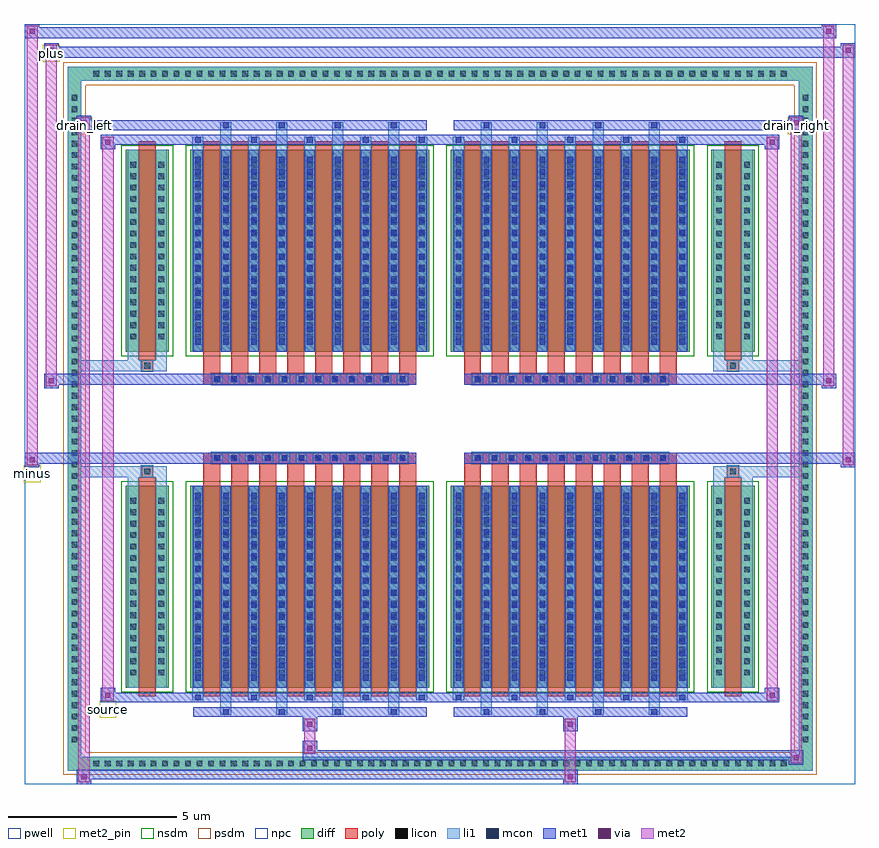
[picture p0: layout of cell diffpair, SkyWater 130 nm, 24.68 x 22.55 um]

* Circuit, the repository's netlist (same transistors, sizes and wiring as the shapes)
* NGSPICE file created from diffpair.ext - technology: sky130A

.subckt diffpair minus drain_right drain_left source plus
X0 drain_right minus source a_n2210_n2088# sky130_fd_pr__nfet_01v8 ad=0.99 pd=6.33 as=0.99 ps=6.33 w=6 l=0.5
X1 source plus drain_left a_n2210_n2088# sky130_fd_pr__nfet_01v8 ad=0.99 pd=6.33 as=0.99 ps=6.33 w=6 l=0.5
X2 drain_right minus source a_n2210_n2088# sky130_fd_pr__nfet_01v8 ad=0.99 pd=6.33 as=0.99 ps=6.33 w=6 l=0.5
X3 source minus drain_right a_n2210_n2088# sky130_fd_pr__nfet_01v8 ad=0.99 pd=6.33 as=0.99 ps=6.33 w=6 l=0.5
X4 source minus drain_right a_n2210_n2088# sky130_fd_pr__nfet_01v8 ad=0.99 pd=6.33 as=0.99 ps=6.33 w=6 l=0.5
X5 source plus drain_left a_n2210_n2088# sky130_fd_pr__nfet_01v8 ad=2.34 pd=12.78 as=0.99 ps=6.33 w=6 l=0.5
X6 a_n2210_n2088# a_n2210_n2088# a_n2210_n2088# a_n2210_n2088# sky130_fd_pr__nfet_01v8 ad=2.34 pd=12.78 as=18.72 ps=102.24 w=6 l=0.5
X7 source minus drain_right a_n2210_n2088# sky130_fd_pr__nfet_01v8 ad=0.99 pd=6.33 as=0.99 ps=6.33 w=6 l=0.5
X8 drain_right minus source a_n2210_n2088# sky130_fd_pr__nfet_01v8 ad=0.99 pd=6.33 as=0.99 ps=6.33 w=6 l=0.5
X9 drain_right minus source a_n2210_n2088# sky130_fd_pr__nfet_01v8 ad=0.99 pd=6.33 as=0.99 ps=6.33 w=6 l=0.5
X10 a_n2210_n2088# a_n2210_n2088# a_n2210_n2088# a_n2210_n2088# sky130_fd_pr__nfet_01v8 ad=2.34 pd=12.78 as=0 ps=0 w=6 l=0.5
X11 drain_right minus source a_n2210_n2088# sky130_fd_pr__nfet_01v8 ad=0.99 pd=6.33 as=0.99 ps=6.33 w=6 l=0.5
X12 drain_left plus source a_n2210_n2088# sky130_fd_pr__nfet_01v8 ad=0.99 pd=6.33 as=0.99 ps=6.33 w=6 l=0.5
X13 source plus drain_left a_n2210_n2088# sky130_fd_pr__nfet_01v8 ad=0.99 pd=6.33 as=0.99 ps=6.33 w=6 l=0.5
X14 source minus drain_right a_n2210_n2088# sky130_fd_pr__nfet_01v8 ad=0.99 pd=6.33 as=0.99 ps=6.33 w=6 l=0.5
X15 source minus drain_right a_n2210_n2088# sky130_fd_pr__nfet_01v8 ad=2.34 pd=12.78 as=0.99 ps=6.33 w=6 l=0.5
X16 drain_left plus source a_n2210_n2088# sky130_fd_pr__nfet_01v8 ad=0.99 pd=6.33 as=2.34 ps=12.78 w=6 l=0.5
X17 source plus drain_left a_n2210_n2088# sky130_fd_pr__nfet_01v8 ad=0.99 pd=6.33 as=0.99 ps=6.33 w=6 l=0.5
X18 a_n2210_n2088# a_n2210_n2088# a_n2210_n2088# a_n2210_n2088# sky130_fd_pr__nfet_01v8 ad=2.34 pd=12.78 as=0 ps=0 w=6 l=0.5
X19 source plus drain_left a_n2210_n2088# sky130_fd_pr__nfet_01v8 ad=2.34 pd=12.78 as=0.99 ps=6.33 w=6 l=0.5
X20 drain_right minus source a_n2210_n2088# sky130_fd_pr__nfet_01v8 ad=0.99 pd=6.33 as=2.34 ps=12.78 w=6 l=0.5
X21 source plus drain_left a_n2210_n2088# sky130_fd_pr__nfet_01v8 ad=0.99 pd=6.33 as=0.99 ps=6.33 w=6 l=0.5
X22 drain_left plus source a_n2210_n2088# sky130_fd_pr__nfet_01v8 ad=0.99 pd=6.33 as=0.99 ps=6.33 w=6 l=0.5
X23 a_n2210_n2088# a_n2210_n2088# a_n2210_n2088# a_n2210_n2088# sky130_fd_pr__nfet_01v8 ad=2.34 pd=12.78 as=0 ps=0 w=6 l=0.5
X24 drain_left plus source a_n2210_n2088# sky130_fd_pr__nfet_01v8 ad=0.99 pd=6.33 as=0.99 ps=6.33 w=6 l=0.5
X25 drain_right minus source a_n2210_n2088# sky130_fd_pr__nfet_01v8 ad=0.99 pd=6.33 as=0.99 ps=6.33 w=6 l=0.5
X26 source minus drain_right a_n2210_n2088# sky130_fd_pr__nfet_01v8 ad=2.34 pd=12.78 as=0.99 ps=6.33 w=6 l=0.5
X27 source minus drain_right a_n2210_n2088# sky130_fd_pr__nfet_01v8 ad=0.99 pd=6.33 as=0.99 ps=6.33 w=6 l=0.5
X28 source plus drain_left a_n2210_n2088# sky130_fd_pr__nfet_01v8 ad=0.99 pd=6.33 as=0.99 ps=6.33 w=6 l=0.5
X29 source minus drain_right a_n2210_n2088# sky130_fd_pr__nfet_01v8 ad=0.99 pd=6.33 as=0.99 ps=6.33 w=6 l=0.5
X30 drain_left plus source a_n2210_n2088# sky130_fd_pr__nfet_01v8 ad=0.99 pd=6.33 as=0.99 ps=6.33 w=6 l=0.5
X31 drain_left plus source a_n2210_n2088# sky130_fd_pr__nfet_01v8 ad=0.99 pd=6.33 as=2.34 ps=12.78 w=6 l=0.5
X32 source plus drain_left a_n2210_n2088# sky130_fd_pr__nfet_01v8 ad=0.99 pd=6.33 as=0.99 ps=6.33 w=6 l=0.5
X33 drain_left plus source a_n2210_n2088# sky130_fd_pr__nfet_01v8 ad=0.99 pd=6.33 as=0.99 ps=6.33 w=6 l=0.5
X34 drain_left plus source a_n2210_n2088# sky130_fd_pr__nfet_01v8 ad=0.99 pd=6.33 as=0.99 ps=6.33 w=6 l=0.5
X35 drain_right minus source a_n2210_n2088# sky130_fd_pr__nfet_01v8 ad=0.99 pd=6.33 as=2.34 ps=12.78 w=6 l=0.5
.ends

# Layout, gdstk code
import gdstk
lib = gdstk.Library(unit=1e-6, precision=5e-09)
def R(c, l, rs):  # rectangles x0, y0, x1, y1
    for r in rs: c.add(gdstk.rectangle(r[:2], r[2:], *l))
def A(c, l, x, y, w, h, nx, ny, dx, dy):  # array of equal rectangles
    R(c, l, [(x+i*dx, y+j*dy, x+i*dx+w, y+j*dy+h) for i in range(nx) for j in range(ny)])
def P(c, l, *ps):  # polygons
    for p in ps: c.add(gdstk.Polygon(p, *l))
pwell = (64, 44)
diff = (65, 20)
poly = (66, 20)
licon = (66, 44)
li1 = (67, 20)
mcon = (67, 44)
met1 = (68, 20)
via = (68, 44)
met2_pin = (69, 16)
met2 = (69, 20)
nsdm = (93, 44)
psdm = (94, 20)
npc = (95, 20)

diffpair = lib.new_cell('diffpair')
R(diffpair, pwell, [(-12.32,-10.84,12.32,11.71), (-9.64,-9.03,-0.01,-0.805), (0.01,-9.03,9.64,-0.805), (-9.64,0.805,-0.01,9.03), (0.01,0.805,9.64,9.03)])
A(diffpair, diff, -10.405, -10.44, 0.41, 0.41, 61, 2, 0.34, 20.47)
A(diffpair, diff, -11.05, -9.725, 0.41, 0.41, 1, 57, 0, 0.34)
A(diffpair, diff, 10.64, -9.725, 0.41, 0.41, 1, 57, 0, 0.34)
R(diffpair, diff, [(-10.405,-10.44,10.405,-10.03), (-11.05,-9.725,-10.64,9.725), (10.64,-9.725,11.05,9.725), (-9.33,-7.985,-8.05,-1.985), (-7.41,-7.985,-0.32,-1.985), (0.32,-7.985,7.41,-1.985), (8.05,-7.985,9.33,-1.985), (-9.33,1.985,-8.05,7.985), (-7.41,1.985,-0.32,7.985), (0.32,1.985,7.41,7.985), (8.05,1.985,9.33,7.985), (-10.405,10.03,10.405,10.44)])
P(diffpair, diff, [(11.05,10.44),(-11.05,10.44),(-11.05,-10.03),(-10.64,-10.03),(-10.64,10.03),(10.64,10.03),(10.64,-10.03),(-10.64,-10.03),(-11.05,-10.03),(-11.05,-10.44),(11.05,-10.44)])
A(diffpair, poly, -7.02, -8.235, 0.5, 6.5, 8, 2, 0.83, 9.97)
A(diffpair, poly, 0.71, -8.235, 0.5, 6.5, 8, 2, 0.83, 9.97)
A(diffpair, poly, -7.02, -1.735, 0.5, 0.4, 8, 2, 0.83, 3.07)
A(diffpair, poly, 0.71, -1.735, 0.5, 0.4, 8, 2, 0.83, 3.07)
A(diffpair, poly, -6.78, -1.335, 0.33, 0.33, 12, 2, 0.5, 2.34)
A(diffpair, poly, 0.95, -1.335, 0.33, 0.33, 12, 2, 0.5, 2.34)
R(diffpair, poly, [(-8.94,-8.235,-8.44,-1.735), (8.44,-8.235,8.94,-1.735), (-8.855,-1.735,-8.525,-1.405), (-8.855,-1.735,-8.525,-1.405), (8.525,-1.735,8.855,-1.405), (8.525,-1.735,8.855,-1.405), (-7.02,-1.335,-0.71,-1.005), (0.71,-1.335,7.02,-1.005), (-7.02,1.005,-0.71,1.335), (0.71,1.005,7.02,1.335), (-8.855,1.405,-8.525,1.735), (-8.855,1.405,-8.525,1.735), (8.525,1.405,8.855,1.735), (8.525,1.405,8.855,1.735), (-8.94,1.735,-8.44,8.235), (8.44,1.735,8.94,8.235)])
A(diffpair, licon, -10.285, -10.32, 0.17, 0.17, 61, 2, 0.34, 20.47)
A(diffpair, licon, -10.93, -9.605, 0.17, 0.17, 1, 57, 0, 0.34)
A(diffpair, licon, 10.76, -9.605, 0.17, 0.17, 1, 57, 0, 0.34)
A(diffpair, licon, -9.19, -7.62, 0.17, 0.17, 1, 16, 0, 0.34)
A(diffpair, licon, -8.36, -7.62, 0.17, 0.17, 1, 16, 0, 0.34)
A(diffpair, licon, -7.27, -7.62, 0.17, 0.17, 9, 16, 0.83, 0.34)
A(diffpair, licon, 0.46, -7.62, 0.17, 0.17, 9, 16, 0.83, 0.34)
A(diffpair, licon, 8.19, -7.62, 0.17, 0.17, 1, 16, 0, 0.34)
A(diffpair, licon, 9.02, -7.62, 0.17, 0.17, 1, 16, 0, 0.34)
A(diffpair, licon, -6.7, -1.255, 0.17, 0.17, 12, 2, 0.5, 2.34)
A(diffpair, licon, 1.03, -1.255, 0.17, 0.17, 12, 2, 0.5, 2.34)
A(diffpair, licon, -9.19, 2.35, 0.17, 0.17, 1, 16, 0, 0.34)
A(diffpair, licon, -8.36, 2.35, 0.17, 0.17, 1, 16, 0, 0.34)
A(diffpair, licon, -7.27, 2.35, 0.17, 0.17, 9, 16, 0.83, 0.34)
A(diffpair, licon, 0.46, 2.35, 0.17, 0.17, 9, 16, 0.83, 0.34)
A(diffpair, licon, 8.19, 2.35, 0.17, 0.17, 1, 16, 0, 0.34)
A(diffpair, licon, 9.02, 2.35, 0.17, 0.17, 1, 16, 0, 0.34)
R(diffpair, licon, [(-8.775,-1.655,-8.605,-1.485), (8.605,-1.655,8.775,-1.485), (-8.775,1.485,-8.605,1.655), (8.605,1.485,8.775,1.655)])
A(diffpair, li1, -10.365, -10.4, 0.33, 0.33, 61, 2, 0.34, 20.47)
A(diffpair, li1, -11.01, -9.685, 0.33, 0.33, 1, 57, 0, 0.34)
A(diffpair, li1, 10.68, -9.685, 0.33, 0.33, 1, 57, 0, 0.34)
A(diffpair, li1, -6.52, -8.79, 0.33, 0.805, 4, 2, 1.66, 16.775)
A(diffpair, li1, -6.44, -8.79, 0.17, 0.17, 4, 2, 1.66, 17.41)
A(diffpair, li1, 1.21, -8.79, 0.33, 0.805, 4, 2, 1.66, 16.775)
A(diffpair, li1, 1.29, -8.79, 0.17, 0.17, 4, 2, 1.66, 17.41)
A(diffpair, li1, -7.35, -8.36, 0.33, 0.375, 5, 2, 1.66, 16.345)
A(diffpair, li1, -7.27, -8.36, 0.17, 0.17, 5, 2, 1.66, 16.55)
A(diffpair, li1, 0.38, -8.36, 0.33, 0.375, 5, 2, 1.66, 16.345)
A(diffpair, li1, 0.46, -8.36, 0.17, 0.17, 5, 2, 1.66, 16.55)
A(diffpair, li1, -7.35, -7.985, 0.33, 6, 9, 2, 0.83, 9.97)
A(diffpair, li1, 0.38, -7.985, 0.33, 6, 9, 2, 0.83, 9.97)
A(diffpair, li1, -7.27, -7.77, 0.17, 0.17, 9, 16, 0.83, 0.36)
A(diffpair, li1, -7.27, -7.77, 0.17, 5.57, 9, 2, 0.83, 9.97)
A(diffpair, li1, 0.46, -7.77, 0.17, 0.17, 9, 16, 0.83, 0.36)
A(diffpair, li1, 0.46, -7.77, 0.17, 5.57, 9, 2, 0.83, 9.97)
A(diffpair, li1, -9.27, -7.7, 0.33, 0.33, 1, 16, 0, 0.34)
A(diffpair, li1, -8.44, -7.7, 0.33, 0.33, 1, 16, 0, 0.34)
A(diffpair, li1, -7.35, -7.7, 0.33, 0.33, 9, 16, 0.83, 0.34)
A(diffpair, li1, 0.38, -7.7, 0.33, 0.33, 9, 16, 0.83, 0.34)
A(diffpair, li1, 8.11, -7.7, 0.33, 0.33, 1, 16, 0, 0.34)
A(diffpair, li1, 8.94, -7.7, 0.33, 0.33, 1, 16, 0, 0.34)
A(diffpair, li1, -6.78, -1.335, 0.33, 0.33, 12, 2, 0.5, 2.34)
A(diffpair, li1, 0.95, -1.335, 0.33, 0.33, 12, 2, 0.5, 2.34)
A(diffpair, li1, -7.27, 2.2, 0.17, 0.17, 9, 16, 0.83, 0.36)
A(diffpair, li1, 0.46, 2.2, 0.17, 0.17, 9, 16, 0.83, 0.36)
A(diffpair, li1, -9.27, 2.27, 0.33, 0.33, 1, 16, 0, 0.34)
A(diffpair, li1, -8.44, 2.27, 0.33, 0.33, 1, 16, 0, 0.34)
A(diffpair, li1, -7.35, 2.27, 0.33, 0.33, 9, 16, 0.83, 0.34)
A(diffpair, li1, 0.38, 2.27, 0.33, 0.33, 9, 16, 0.83, 0.34)
A(diffpair, li1, 8.11, 2.27, 0.33, 0.33, 1, 16, 0, 0.34)
A(diffpair, li1, 8.94, 2.27, 0.33, 0.33, 1, 16, 0, 0.34)
R(diffpair, li1, [(-11.05,-10.44,-10.64,-10.03), (-11.05,-10.44,-10.64,-10.03), (-10.64,-10.44,10.64,-10.03), (10.64,-10.44,11.05,-10.03), (10.64,-10.44,11.05,-10.03), (-11.05,-10.03,-10.64,10.03), (10.64,-10.03,11.05,10.03), (-9.27,-7.985,-8.94,-1.985), (-8.44,-7.985,-8.11,-1.985), (8.11,-7.985,8.44,-1.985), (8.94,-7.985,9.27,-1.985), (-9.27,-1.985,-8.94,-1.405), (-8.44,-1.985,-8.11,-1.405), (8.11,-1.985,8.44,-1.405), (8.94,-1.985,9.27,-1.405), (-11.05,-1.735,-8.855,-1.405), (-9.27,-1.735,-8.855,-1.405), (-8.855,-1.735,-8.525,-1.405), (-8.525,-1.735,-8.11,-1.405), (8.11,-1.735,8.525,-1.405), (8.525,-1.735,8.855,-1.405), (8.525,-1.735,11.05,-1.405), (8.855,-1.735,9.27,-1.405), (-11.05,1.405,-8.855,1.735), (-9.27,1.405,-8.855,1.735), (-9.27,1.405,-8.94,1.985), (-8.855,1.405,-8.525,1.735), (-8.525,1.405,-8.11,1.735), (-8.44,1.405,-8.11,1.985), (8.11,1.405,8.525,1.735), (8.11,1.405,8.44,1.985), (8.525,1.405,8.855,1.735), (8.525,1.405,11.05,1.735), (8.855,1.405,9.27,1.735), (8.94,1.405,9.27,1.985), (-9.27,1.985,-8.94,7.985), (-8.44,1.985,-8.11,7.985), (8.11,1.985,8.44,7.985), (8.94,1.985,9.27,7.985), (-11.05,10.03,-10.64,10.44), (-11.05,10.03,-10.64,10.44), (-10.64,10.03,10.64,10.44), (10.64,10.03,11.05,10.44), (10.64,10.03,11.05,10.44)])
A(diffpair, mcon, -6.44, -8.79, 0.17, 0.17, 4, 2, 1.66, 17.41)
A(diffpair, mcon, 1.29, -8.79, 0.17, 0.17, 4, 2, 1.66, 17.41)
A(diffpair, mcon, -7.27, -8.36, 0.17, 0.17, 5, 2, 1.66, 16.55)
A(diffpair, mcon, 0.46, -8.36, 0.17, 0.17, 5, 2, 1.66, 16.55)
A(diffpair, mcon, -7.27, -7.77, 0.17, 0.17, 9, 16, 0.83, 0.36)
A(diffpair, mcon, 0.46, -7.77, 0.17, 0.17, 9, 16, 0.83, 0.36)
A(diffpair, mcon, -6.7, -1.255, 0.17, 0.17, 12, 2, 0.5, 2.34)
A(diffpair, mcon, 1.03, -1.255, 0.17, 0.17, 12, 2, 0.5, 2.34)
A(diffpair, mcon, -7.27, 2.2, 0.17, 0.17, 9, 16, 0.83, 0.36)
A(diffpair, mcon, 0.46, 2.2, 0.17, 0.17, 9, 16, 0.83, 0.36)
A(diffpair, met1, -6.5, -8.85, 0.29, 0.29, 4, 2, 1.66, 17.41)
A(diffpair, met1, 1.23, -8.85, 0.29, 0.29, 4, 2, 1.66, 17.41)
A(diffpair, met1, -7.33, -8.42, 0.29, 0.29, 5, 2, 1.66, 16.55)
A(diffpair, met1, 0.4, -8.42, 0.29, 0.29, 5, 2, 1.66, 16.55)
A(diffpair, met1, -7.33, -7.985, 0.29, 6, 9, 2, 0.83, 9.97)
A(diffpair, met1, 0.4, -7.985, 0.29, 6, 9, 2, 0.83, 9.97)
A(diffpair, met1, -7.33, -7.83, 0.29, 0.29, 9, 16, 0.83, 0.36)
A(diffpair, met1, 0.4, -7.83, 0.29, 0.29, 9, 16, 0.83, 0.36)
A(diffpair, met1, -6.76, -1.315, 0.29, 0.29, 12, 2, 0.5, 2.34)
A(diffpair, met1, 0.97, -1.315, 0.29, 0.29, 12, 2, 0.5, 2.34)
A(diffpair, met1, -7.33, 2.14, 0.29, 0.29, 9, 16, 0.83, 0.36)
A(diffpair, met1, 0.4, 2.14, 0.29, 0.29, 9, 16, 0.83, 0.36)
R(diffpair, met1, [(-10.78,-10.84,-10.35,-10.41), (3.65,-10.84,4.08,-10.41), (-10.78,-10.7,4.08,-10.41), (10.35,-10.27,10.78,-9.84), (-4.08,-10.13,10.78,-9.84), (-4.08,-9.99,-3.65,-9.56), (-4.08,-9.28,-3.65,-8.85), (3.65,-9.28,4.08,-8.85), (-7.33,-8.85,-0.4,-8.56), (0.4,-8.85,7.33,-8.56), (-10.07,-8.42,-9.64,-7.99), (-10.07,-8.42,-7.33,-8.13), (-7.33,-8.42,-0.4,-8.13), (-0.4,-8.42,0.4,-8.13), (0.4,-8.42,7.33,-8.13), (7.33,-8.42,10.07,-8.13), (9.64,-8.42,10.07,-7.99), (-12.32,-1.435,-11.89,-1.005), (11.89,-1.435,12.32,-1.005), (-12.32,-1.335,-0.71,-1.005), (-7.02,-1.335,-0.71,-1.005), (0.71,-1.335,7.02,-1.005), (0.71,-1.335,12.32,-1.005), (-11.75,0.905,-11.32,1.335), (11.32,0.905,11.75,1.335), (-11.75,1.005,-7.02,1.335), (-7.02,1.005,-0.71,1.335), (0.71,1.005,7.02,1.335), (7.02,1.005,11.75,1.335), (-10.07,7.99,-9.64,8.42), (9.64,7.99,10.07,8.42), (-10.07,8.13,-7.33,8.42), (-7.33,8.13,-0.4,8.42), (-0.4,8.13,0.4,8.42), (0.4,8.13,7.33,8.42), (7.33,8.13,10.07,8.42), (-10.78,8.56,-10.35,8.99), (-10.78,8.56,-7.33,8.85), (-7.33,8.56,-0.4,8.85), (0.4,8.56,7.33,8.85), (7.33,8.56,10.78,8.85), (10.35,8.56,10.78,8.99), (-11.75,10.71,-11.32,11.14), (-11.75,10.71,-9.64,11.04), (-9.64,10.71,9.64,11.04), (9.64,10.71,12.32,11.04), (11.89,10.71,12.32,11.14), (-12.32,11.28,-11.89,11.71), (-12.32,11.28,-9.64,11.61), (-9.64,11.28,9.64,11.61), (9.64,11.28,11.75,11.61), (11.32,11.28,11.75,11.71)])
R(diffpair, via, [(-10.64,-10.7,-10.49,-10.55), (3.79,-10.7,3.94,-10.55), (10.49,-10.13,10.64,-9.98), (-3.94,-9.85,-3.79,-9.7), (-3.94,-9.14,-3.79,-8.99), (3.79,-9.14,3.94,-8.99), (-9.93,-8.28,-9.78,-8.13), (9.78,-8.28,9.93,-8.13), (-12.18,-1.295,-12.03,-1.145), (12.03,-1.295,12.18,-1.145), (-11.61,1.045,-11.46,1.195), (11.46,1.045,11.61,1.195), (-9.93,8.13,-9.78,8.28), (9.78,8.13,9.93,8.28), (-10.64,8.7,-10.49,8.85), (10.49,8.7,10.64,8.85), (-11.61,10.85,-11.46,11), (12.03,10.85,12.18,11), (-12.18,11.42,-12.03,11.57), (11.46,11.42,11.61,11.57)])
R(diffpair, met2_pin, [(-10.105,-8.87,-9.605,-8.37), (-12.355,-1.885,-11.855,-1.385), (-10.815,8.44,-10.315,8.94), (10.315,8.44,10.815,8.94), (-11.785,10.59,-11.285,11.09)])
R(diffpair, met2, [(-10.73,-10.79,-10.4,-10.46), (-10.73,-10.79,-10.4,8.94), (3.7,-10.79,4.03,-10.46), (3.7,-10.46,4.03,-9.23), (10.4,-10.22,10.73,-9.89), (10.4,-10.22,10.73,8.94), (-4.03,-9.94,-3.7,-9.61), (-4.03,-9.61,-3.7,-9.23), (-4.03,-9.23,-3.7,-8.9), (3.7,-9.23,4.03,-8.9), (-10.02,-8.37,-9.69,-8.04), (-10.02,-8.37,-9.69,8.37), (9.69,-8.37,10.02,-8.04), (9.69,-8.37,10.02,8.37), (-12.27,-1.385,-11.94,-1.055), (-12.27,-1.385,-11.94,11.66), (11.94,-1.385,12.27,-1.055), (11.94,-1.385,12.27,11.09), (-11.7,0.955,-11.37,1.285), (-11.7,0.955,-11.37,11.09), (11.37,0.955,11.7,1.285), (11.37,0.955,11.7,11.66), (-10.02,8.04,-9.69,8.37), (9.69,8.04,10.02,8.37), (-10.73,8.61,-10.4,8.94), (10.4,8.61,10.73,8.94), (-11.7,10.76,-11.37,11.09), (11.94,10.76,12.27,11.09), (-12.27,11.33,-11.94,11.66), (11.37,11.33,11.7,11.66)])
P(diffpair, met2, [(12.27,-1.385),(12.27,-1.385),(12.27,-1.055),(12.27,-1.055)],
  [(12.27,10.76),(12.27,10.76),(12.27,11.09),(12.27,11.09)],
  [(-11.94,-1.385),(-11.94,-1.385),(-11.94,-1.055),(-11.94,-1.055)],
  [(-11.94,11.33),(-11.94,11.33),(-11.94,11.66),(-11.94,11.66)],
  [(11.7,0.955),(11.7,0.955),(11.7,1.285),(11.7,1.285)],
  [(11.7,11.33),(11.7,11.33),(11.7,11.66),(11.7,11.66)],
  [(-11.37,0.955),(-11.37,0.955),(-11.37,1.285),(-11.37,1.285)],
  [(-11.37,10.76),(-11.37,10.76),(-11.37,11.09),(-11.37,11.09)],
  [(-10.4,-10.79),(-10.4,-10.79),(-10.4,-10.46),(-10.4,-10.46)],
  [(-10.4,8.61),(-10.4,8.61),(-10.4,8.94),(-10.4,8.94)],
  [(10.73,-10.22),(10.73,-10.22),(10.73,-9.89),(10.73,-9.89)],
  [(10.73,8.61),(10.73,8.61),(10.73,8.94),(10.73,8.94)],
  [(-9.69,-8.37),(-9.69,-8.37),(-9.69,-8.04),(-9.69,-8.04)],
  [(-9.69,8.04),(-9.69,8.04),(-9.69,8.37),(-9.69,8.37)],
  [(10.02,-8.37),(10.02,-8.37),(10.02,-8.04),(10.02,-8.04)],
  [(10.02,8.04),(10.02,8.04),(10.02,8.37),(10.02,8.37)])
R(diffpair, nsdm, [(-9.46,-8.115,-7.92,-1.855), (-7.54,-8.115,-0.19,-1.855), (0.19,-8.115,7.54,-1.855), (7.92,-8.115,9.46,-1.855), (-9.46,1.855,-7.92,8.115), (-7.54,1.855,-0.19,8.115), (0.19,1.855,7.54,8.115), (7.92,1.855,9.46,8.115)])
P(diffpair, psdm, [(11.18,10.57),(-11.18,10.57),(-11.18,-9.9),(-10.51,-9.9),(-10.51,9.9),(10.51,9.9),(10.51,-9.9),(-10.51,-9.9),(-11.18,-9.9),(-11.18,-10.57),(11.18,-10.57)])
A(diffpair, npc, -6.8, -1.355, 0.37, 0.37, 12, 2, 0.5, 2.34)
A(diffpair, npc, 0.93, -1.355, 0.37, 0.37, 12, 2, 0.5, 2.34)
R(diffpair, npc, [(-8.875,-1.755,-8.505,-1.385), (8.505,-1.755,8.875,-1.385), (-6.8,-1.355,-5.93,-0.985), (-6.8,-1.355,-5.93,-0.985), (-6.3,-1.355,-5.43,-0.985), (-6.3,-1.355,-5.43,-0.985), (-5.8,-1.355,-4.93,-0.985), (-5.8,-1.355,-4.93,-0.985), (-5.3,-1.355,-4.43,-0.985), (-5.3,-1.355,-4.43,-0.985), (-4.8,-1.355,-3.93,-0.985), (-4.8,-1.355,-3.93,-0.985), (-4.3,-1.355,-3.43,-0.985), (-4.3,-1.355,-3.43,-0.985), (-3.8,-1.355,-2.93,-0.985), (-3.8,-1.355,-2.93,-0.985), (-3.3,-1.355,-2.43,-0.985), (-3.3,-1.355,-2.43,-0.985), (-2.8,-1.355,-1.93,-0.985), (-2.8,-1.355,-1.93,-0.985), (-2.3,-1.355,-1.43,-0.985), (-2.3,-1.355,-1.43,-0.985), (-1.8,-1.355,-0.93,-0.985), (-1.8,-1.355,-0.93,-0.985), (0.93,-1.355,1.8,-0.985), (0.93,-1.355,1.8,-0.985), (1.43,-1.355,2.3,-0.985), (1.43,-1.355,2.3,-0.985), (1.93,-1.355,2.8,-0.985), (1.93,-1.355,2.8,-0.985), (2.43,-1.355,3.3,-0.985), (2.43,-1.355,3.3,-0.985), (2.93,-1.355,3.8,-0.985), (2.93,-1.355,3.8,-0.985), (3.43,-1.355,4.3,-0.985), (3.43,-1.355,4.3,-0.985), (3.93,-1.355,4.8,-0.985), (3.93,-1.355,4.8,-0.985), (4.43,-1.355,5.3,-0.985), (4.43,-1.355,5.3,-0.985), (4.93,-1.355,5.8,-0.985), (4.93,-1.355,5.8,-0.985), (5.43,-1.355,6.3,-0.985), (5.43,-1.355,6.3,-0.985), (5.93,-1.355,6.8,-0.985), (5.93,-1.355,6.8,-0.985), (-6.8,0.985,-5.93,1.355), (-6.8,0.985,-5.93,1.355), (-6.3,0.985,-5.43,1.355), (-6.3,0.985,-5.43,1.355), (-5.8,0.985,-4.93,1.355), (-5.8,0.985,-4.93,1.355), (-5.3,0.985,-4.43,1.355), (-5.3,0.985,-4.43,1.355), (-4.8,0.985,-3.93,1.355), (-4.8,0.985,-3.93,1.355), (-4.3,0.985,-3.43,1.355), (-4.3,0.985,-3.43,1.355), (-3.8,0.985,-2.93,1.355), (-3.8,0.985,-2.93,1.355), (-3.3,0.985,-2.43,1.355), (-3.3,0.985,-2.43,1.355), (-2.8,0.985,-1.93,1.355), (-2.8,0.985,-1.93,1.355), (-2.3,0.985,-1.43,1.355), (-2.3,0.985,-1.43,1.355), (-1.8,0.985,-0.93,1.355), (-1.8,0.985,-0.93,1.355), (0.93,0.985,1.8,1.355), (0.93,0.985,1.8,1.355), (1.43,0.985,2.3,1.355), (1.43,0.985,2.3,1.355), (1.93,0.985,2.8,1.355), (1.93,0.985,2.8,1.355), (2.43,0.985,3.3,1.355), (2.43,0.985,3.3,1.355), (2.93,0.985,3.8,1.355), (2.93,0.985,3.8,1.355), (3.43,0.985,4.3,1.355), (3.43,0.985,4.3,1.355), (3.93,0.985,4.8,1.355), (3.93,0.985,4.8,1.355), (4.43,0.985,5.3,1.355), (4.43,0.985,5.3,1.355), (4.93,0.985,5.8,1.355), (4.93,0.985,5.8,1.355), (5.43,0.985,6.3,1.355), (5.43,0.985,6.3,1.355), (5.93,0.985,6.8,1.355), (5.93,0.985,6.8,1.355), (-8.875,1.385,-8.505,1.755), (8.505,1.385,8.875,1.755)])
diffpair.add(gdstk.Label('minus', (-12.105,-1.635), layer=69, texttype=5))
diffpair.add(gdstk.Label('drain_right', (10.565,8.69), layer=69, texttype=5))
diffpair.add(gdstk.Label('drain_left', (-10.565,8.69), layer=69, texttype=5))
diffpair.add(gdstk.Label('source', (-9.855,-8.62), layer=69, texttype=5))
diffpair.add(gdstk.Label('plus', (-11.535,10.84), layer=69, texttype=5))

lib.write_gds('diffpair.gds')
